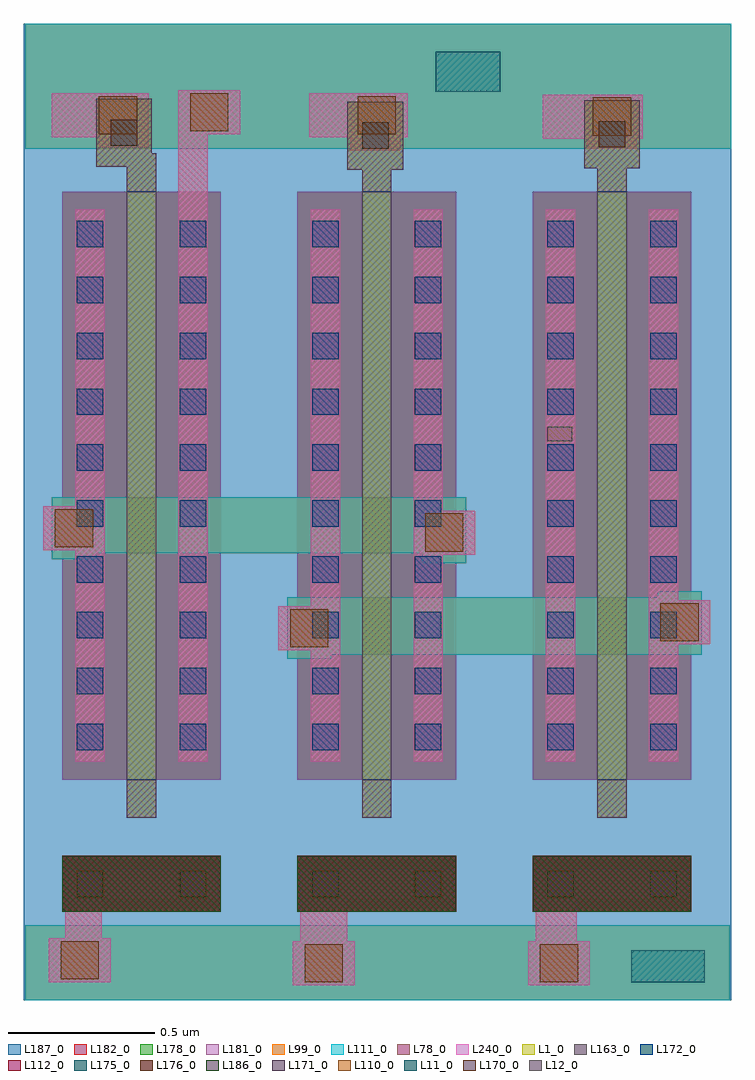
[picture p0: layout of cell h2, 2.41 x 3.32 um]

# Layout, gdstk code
import gdstk
lib = gdstk.Library(unit=1e-6, precision=1e-09)
def R(c, l, rs):  # rectangles x0, y0, x1, y1
    for r in rs: c.add(gdstk.rectangle(r[:2], r[2:], *l))
def A(c, l, x, y, w, h, nx, ny, dx, dy):  # array of equal rectangles
    R(c, l, [(x+i*dx, y+j*dy, x+i*dx+w, y+j*dy+h) for i in range(nx) for j in range(ny)])
def P(c, l, *ps):  # polygons
    for p in ps: c.add(gdstk.Polygon(p, *l))
L1_0 = (1, 0)
L11_0 = (11, 0)
L12_0 = (12, 0)
L78_0 = (78, 0)
L99_0 = (99, 0)
L110_0 = (110, 0)
L111_0 = (111, 0)
L112_0 = (112, 0)
L163_0 = (163, 0)
L170_0 = (170, 0)
L171_0 = (171, 0)
L172_0 = (172, 0)
L175_0 = (175, 0)
L176_0 = (176, 0)
L178_0 = (178, 0)
L181_0 = (181, 0)
L182_0 = (182, 0)
L186_0 = (186, 0)
L187_0 = (187, 0)
L240_0 = (240, 0)

n_3t = lib.new_cell('n_3t')
R(n_3t, L1_0, [(0,-0.13,0.1,2.13)])
R(n_3t, L78_0, [(-0.21,-0.405,0.31,-0.305), (-0.175,0.06,-0.075,1.94), (0.175,0.06,0.275,1.94)])
R(n_3t, L112_0, [(-0.22,-0.45,0.32,-0.26)])
R(n_3t, L163_0, [(0,0,0.1,2)])
R(n_3t, L171_0, [(0,-0.13,0.1,0), (0,2,0.1,2.13)])
A(n_3t, L172_0, -0.17, 0.1, 0.09, 0.09, 1, 10, 0, 0.19)
A(n_3t, L172_0, 0.18, 0.1, 0.09, 0.09, 1, 10, 0, 0.19)
R(n_3t, L172_0, [(-0.17,-0.4,-0.08,-0.31), (0.18,-0.4,0.27,-0.31)])
R(n_3t, L175_0, [(-0.22,-0.45,0.32,-0.26)])
R(n_3t, L176_0, [(-0.22,-0.45,0.32,-0.26)])
R(n_3t, L178_0, [(-0.22,0,0,2), (0.1,0,0.32,2)])
R(n_3t, L181_0, [(-0.22,0,0,2), (0.1,0,0.32,2)])
R(n_3t, L182_0, [(-0.22,-0.45,0.32,-0.26), (-0.22,0,0,2), (0.1,0,0.32,2)])
R(n_3t, L186_0, [(-0.22,-0.45,0.32,-0.26)])
R(n_3t, L187_0, [(-0.35,-0.47,0.45,2.13)])
R(n_3t, L240_0, [(-0.21,-0.405,0.31,-0.305), (-0.175,0.06,-0.075,1.94), (0.175,0.06,0.275,1.94)])

c_h2 = lib.new_cell('h2')
R(c_h2, L1_0, [(-0.07,2.29,0.12,2.52), (0.735,2.295,0.925,2.525), (-0.925,2.3,-0.735,2.53)])
R(c_h2, L11_0, [(0.895,-0.475,1.145,-0.365), (0.23,2.555,0.45,2.69)])
R(c_h2, L12_0, [(0.61,1.365,0.695,1.415)])
R(c_h2, L78_0, [(-0.305,0.655,-0.095,0.805), (0.955,0.675,1.165,0.825), (0.155,0.98,0.365,1.13), (-1.105,0.995,-0.895,1.145)])
P(c_h2, L78_0, [(-0.745,2.55),(-0.745,2.365),(-0.915,2.365),(-0.915,2.4),(-1.075,2.4),(-1.075,2.55)],
  [(-0.435,2.56),(-0.435,2.41),(-0.545,2.41),(-0.545,2.115),(-0.645,2.115),(-0.645,2.56)],
  [(0.135,2.55),(0.135,2.4),(0.11,2.4),(0.11,2.355),(-0.06,2.355),(-0.06,2.4),(-0.2,2.4),(-0.2,2.55)],
  [(0.935,2.545),(0.935,2.395),(0.915,2.395),(0.915,2.36),(0.745,2.36),(0.745,2.395),(0.595,2.395),(0.595,2.545)],
  [(-0.905,-0.09),(-0.905,-0.325),(-0.875,-0.325),(-0.875,-0.475),(-1.085,-0.475),(-1.085,-0.325),(-1.03,-0.325),(-1.03,-0.09)],
  [(-0.07,-0.09),(-0.07,-0.335),(-0.045,-0.335),(-0.045,-0.485),(-0.255,-0.485),(-0.255,-0.335),(-0.23,-0.335),(-0.23,-0.09)],
  [(0.71,-0.09),(0.71,-0.335),(0.755,-0.335),(0.755,-0.485),(0.545,-0.485),(0.545,-0.335),(0.57,-0.335),(0.57,-0.09)])
R(c_h2, L99_0, [(-1.165,-0.535,1.23,-0.28), (-1.165,2.36,1.235,2.785)])
P(c_h2, L99_0, [(0.335,1.175),(0.335,0.95),(0.185,0.95),(0.185,0.985),(-0.925,0.985),(-0.925,0.965),(-1.075,0.965),(-1.075,1.175)],
  [(1.135,0.855),(1.135,0.64),(-0.125,0.64),(-0.125,0.625),(-0.275,0.625),(-0.275,0.835),(0.985,0.835),(0.985,0.855)])
R(c_h2, L110_0, [(-0.215,-0.475,-0.085,-0.345), (0.585,-0.475,0.715,-0.345), (-1.045,-0.465,-0.915,-0.335), (-0.265,0.665,-0.135,0.795), (0.995,0.685,1.125,0.815), (0.195,0.99,0.325,1.12), (-1.065,1.005,-0.935,1.135), (0.765,2.405,0.895,2.535), (-0.915,2.41,-0.785,2.54), (-0.035,2.41,0.095,2.54), (-0.605,2.42,-0.475,2.55)])
R(c_h2, L111_0, [(-1.165,-0.535,1.23,-0.28), (-1.165,2.36,1.235,2.785)])
P(c_h2, L111_0, [(0.335,1.175),(0.335,0.95),(0.185,0.95),(0.185,0.985),(-0.925,0.985),(-0.925,0.965),(-1.075,0.965),(-1.075,1.175)],
  [(1.135,0.855),(1.135,0.64),(-0.125,0.64),(-0.125,0.625),(-0.275,0.625),(-0.275,0.835),(0.985,0.835),(0.985,0.855)])
R(c_h2, L170_0, [(-0.02,2.36,0.07,2.45), (0.785,2.365,0.875,2.455), (-0.875,2.37,-0.785,2.46)])
R(c_h2, L171_0, [(-0.07,2.29,0.12,2.52), (0.735,2.295,0.925,2.525), (-0.925,2.3,-0.735,2.53)])
R(c_h2, L187_0, [(-1.17,-0.535,1.235,2.785)])
R(c_h2, L240_0, [(-0.305,0.655,-0.095,0.805), (0.955,0.675,1.165,0.825), (0.155,0.98,0.365,1.13), (-1.105,0.995,-0.895,1.145)])
P(c_h2, L240_0, [(-0.745,2.55),(-0.745,2.365),(-0.915,2.365),(-0.915,2.4),(-1.075,2.4),(-1.075,2.55)],
  [(-0.435,2.56),(-0.435,2.41),(-0.545,2.41),(-0.545,2.115),(-0.645,2.115),(-0.645,2.56)],
  [(0.135,2.55),(0.135,2.4),(0.11,2.4),(0.11,2.355),(-0.06,2.355),(-0.06,2.4),(-0.2,2.4),(-0.2,2.55)],
  [(0.935,2.545),(0.935,2.395),(0.915,2.395),(0.915,2.36),(0.745,2.36),(0.745,2.395),(0.595,2.395),(0.595,2.545)],
  [(-0.905,-0.09),(-0.905,-0.325),(-0.875,-0.325),(-0.875,-0.475),(-1.085,-0.475),(-1.085,-0.325),(-1.03,-0.325),(-1.03,-0.09)],
  [(-0.07,-0.09),(-0.07,-0.335),(-0.045,-0.335),(-0.045,-0.485),(-0.255,-0.485),(-0.255,-0.335),(-0.23,-0.335),(-0.23,-0.09)],
  [(0.71,-0.09),(0.71,-0.335),(0.755,-0.335),(0.755,-0.485),(0.545,-0.485),(0.545,-0.335),(0.57,-0.335),(0.57,-0.09)])
c_h2.add(gdstk.Reference(n_3t, (0.78,0.215)))
c_h2.add(gdstk.Reference(n_3t, (-0.02,0.215)))
c_h2.add(gdstk.Reference(n_3t, (-0.82,0.215)))

lib.write_gds('h2.gds')
